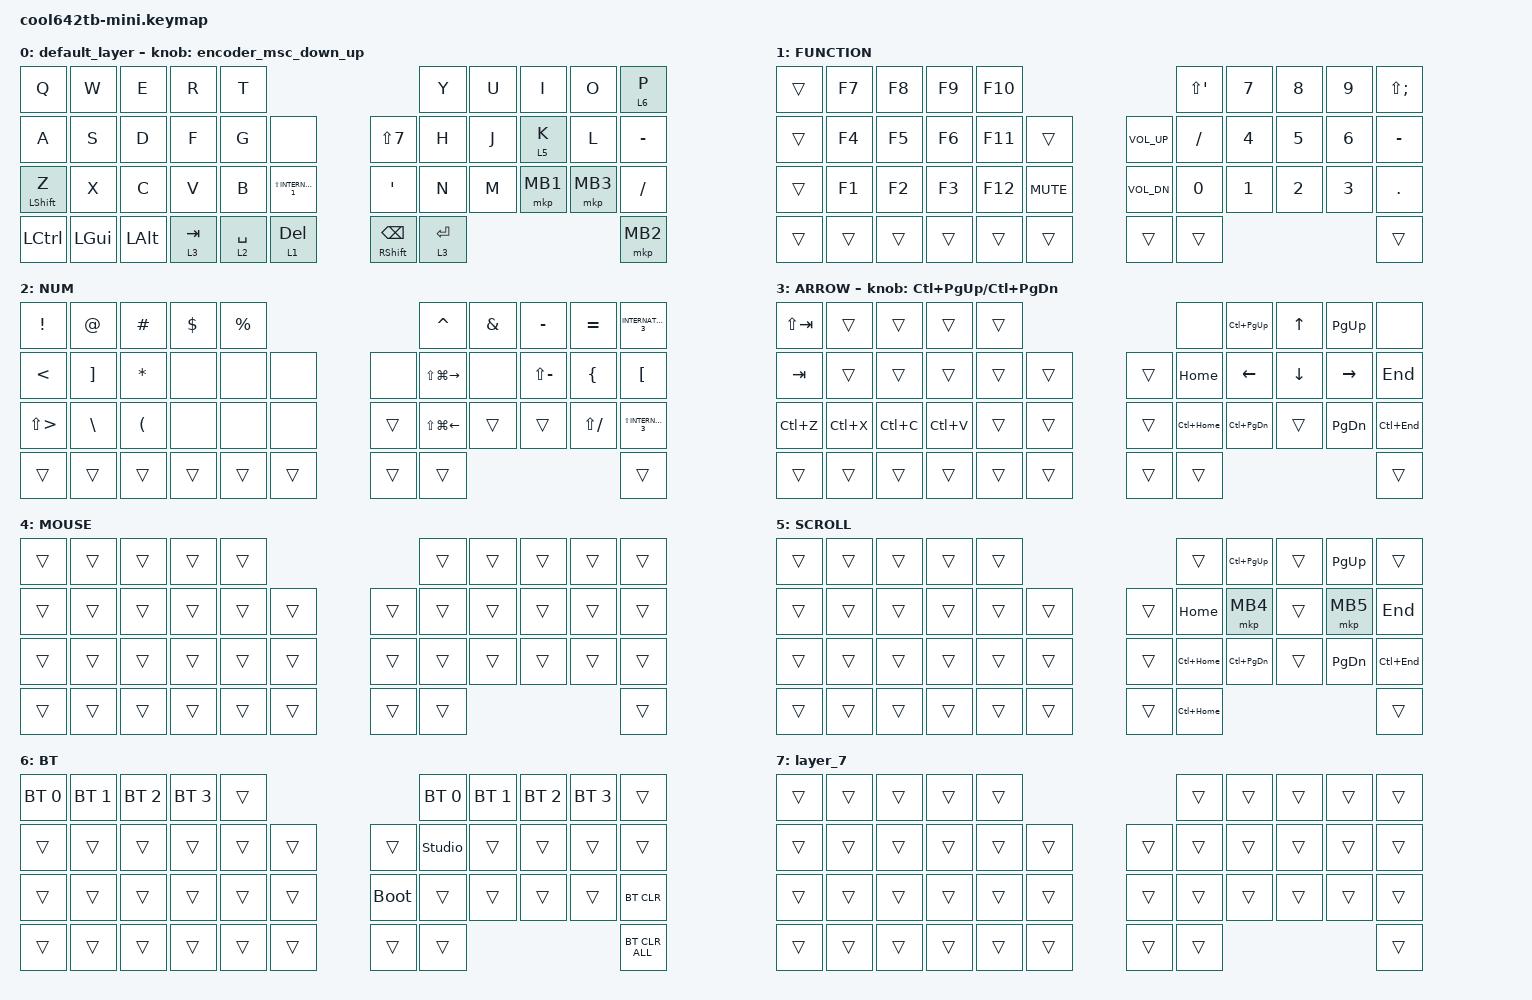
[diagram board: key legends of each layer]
#include <behaviors.dtsi>
#include <dt-bindings/zmk/bt.h>
#include <dt-bindings/zmk/keys.h>
#include <dt-bindings/zmk/pointing.h>

#define MOUSE 4
#define SCROLL 5
#define NUM 6
#define ZMK_POINTING_DEFAULT_SCRL_VAL 80

&mt {
    flavor = "balanced";
    quick-tap-ms = <0>;
};

/ {
    combos {
        compatible = "zmk,combos";

        shift_tab {
            bindings = <&kp LANG2>;
            key-positions = <12 13>;
        };

        lang {
            bindings = <&kp LANG1>;
            key-positions = <18 19>;
        };

        esc {
            bindings = <&kp ESCAPE>;
            key-positions = <0 1>;
        };

        tab {
            bindings = <&kp TAB>;
            key-positions = <11 12>;
        };

        ten {
            bindings = <&kp COMMA>;
            key-positions = <30 31>;
        };

        maru {
            bindings = <&kp PERIOD>;
            key-positions = <31 32>;
        };

        semi-c {
            bindings = <&kp SEMI>;
            key-positions = <28 29>;
        };
    };

    behaviors {
        encoder_msc_down_up: encoder_msc_down_up {
            compatible = "zmk,behavior-sensor-rotate";
            label = "ENCODER_MSC_DOWN_UP";
            #sensor-binding-cells = <0>;
            bindings = <&msc SCRL_UP>, <&msc SCRL_DOWN>;

            tap-ms = <20>;
        };
    };

    keymap {
        compatible = "zmk,keymap";

        default_layer {
            bindings = <
&kp Q             &kp W         &kp E         &kp R      &kp T                                                          &kp Y        &kp U  &kp I     &kp O     &lt 6 P
&kp A             &kp S         &kp D         &kp F      &kp G        &none                        &kp LS(N7)           &kp H        &kp J  &lt 5 K   &kp L     &kp MINUS
&mt LEFT_SHIFT Z  &kp X         &kp C         &kp V      &kp B        &kp LS(INTERNATIONAL_1)      &kp SQT              &kp N        &kp M  &mkp MB1  &mkp MB3  &kp SLASH
&kp LEFT_CONTROL  &kp LEFT_GUI  &kp LEFT_ALT  &lt 3 TAB  &lt 2 SPACE  &lt 1 DELETE                 &mt RSHFT BACKSPACE  &lt 3 ENTER                             &mkp MB2
            >;

            sensor-bindings = <&encoder_msc_down_up>;
        };

        FUNCTION {
            bindings = <
&trans  &kp F7  &kp F8  &kp F9  &kp F10                                   &kp LS(APOS)  &kp N7  &kp N8  &kp N9  &kp LS(SEMI)
&trans  &kp F4  &kp F5  &kp F6  &kp F11  &trans          &kp C_VOLUME_UP  &kp FSLH      &kp N4  &kp N5  &kp N6  &kp MINUS
&trans  &kp F1  &kp F2  &kp F3  &kp F12  &kp C_MUTE      &kp C_VOL_DN     &kp N0        &kp N1  &kp N2  &kp N3  &kp DOT
&trans  &trans  &trans  &trans  &trans   &trans          &trans           &trans                                &trans
            >;
        };

        NUM {
            bindings = <
&kp EXCLAMATION       &kp AT             &kp HASH              &kp DOLLAR  &kp PERCENT                      &kp CARET                &kp AMPERSAND  &kp MINUS      &kp EQUAL       &kp INTERNATIONAL_3
&kp LESS_THAN         &kp RIGHT_BRACKET  &kp ASTRK             &none       &none        &none       &none   &kp LS(LG(RIGHT_ARROW))  &none          &kp LS(MINUS)  &kp LEFT_BRACE  &kp LEFT_BRACKET
&kp LS(GREATER_THAN)  &kp BACKSLASH      &kp LEFT_PARENTHESIS  &none       &none        &none       &trans  &kp LS(LG(LEFT_ARROW))   &trans         &trans         &kp LS(SLASH)   &kp LS(INTERNATIONAL_3)
&trans                &trans             &trans                &trans      &trans       &trans      &trans  &trans                                                                 &trans
            >;
        };

        ARROW {
            bindings = <
&kp LS(TAB)  &trans     &trans     &trans     &trans                      &none         &kp LC(PAGE_UP)    &kp UP_ARROW  &kp PAGE_UP      &none
&kp TAB      &trans     &trans     &trans     &trans  &trans      &trans  &kp HOME      &kp LEFT_ARROW     &kp DOWN      &kp RIGHT_ARROW  &kp END
&kp LC(Z)    &kp LC(X)  &kp LC(C)  &kp LC(V)  &trans  &trans      &trans  &kp LC(HOME)  &kp LC(PAGE_DOWN)  &trans        &kp PAGE_DOWN    &kp LC(END)
&trans       &trans     &trans     &trans     &trans  &trans      &trans  &trans                                                          &trans
            >;

            sensor-bindings = <&inc_dec_kp LC(PAGE_UP) LC(PAGE_DOWN)>;
        };

        MOUSE {
            bindings = <
&trans  &trans  &trans  &trans  &trans                      &trans  &trans  &trans  &trans  &trans
&trans  &trans  &trans  &trans  &trans  &trans      &trans  &trans  &trans  &trans  &trans  &trans
&trans  &trans  &trans  &trans  &trans  &trans      &trans  &trans  &trans  &trans  &trans  &trans
&trans  &trans  &trans  &trans  &trans  &trans      &trans  &trans                          &trans
            >;
        };

        SCROLL {
            bindings = <
&trans  &trans  &trans  &trans  &trans                      &trans        &kp LC(PAGE_UP)    &trans  &kp PAGE_UP    &trans
&trans  &trans  &trans  &trans  &trans  &trans      &trans  &kp HOME      &mkp MB4           &trans  &mkp MB5       &kp END
&trans  &trans  &trans  &trans  &trans  &trans      &trans  &kp LC(HOME)  &kp LC(PAGE_DOWN)  &trans  &kp PAGE_DOWN  &kp LC(END)
&trans  &trans  &trans  &trans  &trans  &trans      &trans  &kp LC(HOME)                                            &trans
            >;
        };

        BT {
            bindings = <
&bt BT_SEL 0  &bt BT_SEL 1  &bt BT_SEL 2  &bt BT_SEL 3  &trans                           &bt BT_SEL 0    &bt BT_SEL 1  &bt BT_SEL 2  &bt BT_SEL 3  &trans
&trans        &trans        &trans        &trans        &trans  &trans      &trans       &studio_unlock  &trans        &trans        &trans        &trans
&trans        &trans        &trans        &trans        &trans  &trans      &bootloader  &trans          &trans        &trans        &trans        &bt BT_CLR
&trans        &trans        &trans        &trans        &trans  &trans      &trans       &trans                                                    &bt BT_CLR_ALL
            >;
        };

        layer_7 {
            bindings = <
&trans  &trans  &trans  &trans  &trans                      &trans  &trans  &trans  &trans  &trans
&trans  &trans  &trans  &trans  &trans  &trans      &trans  &trans  &trans  &trans  &trans  &trans
&trans  &trans  &trans  &trans  &trans  &trans      &trans  &trans  &trans  &trans  &trans  &trans
&trans  &trans  &trans  &trans  &trans  &trans      &trans  &trans                          &trans
            >;
        };
    };
};
